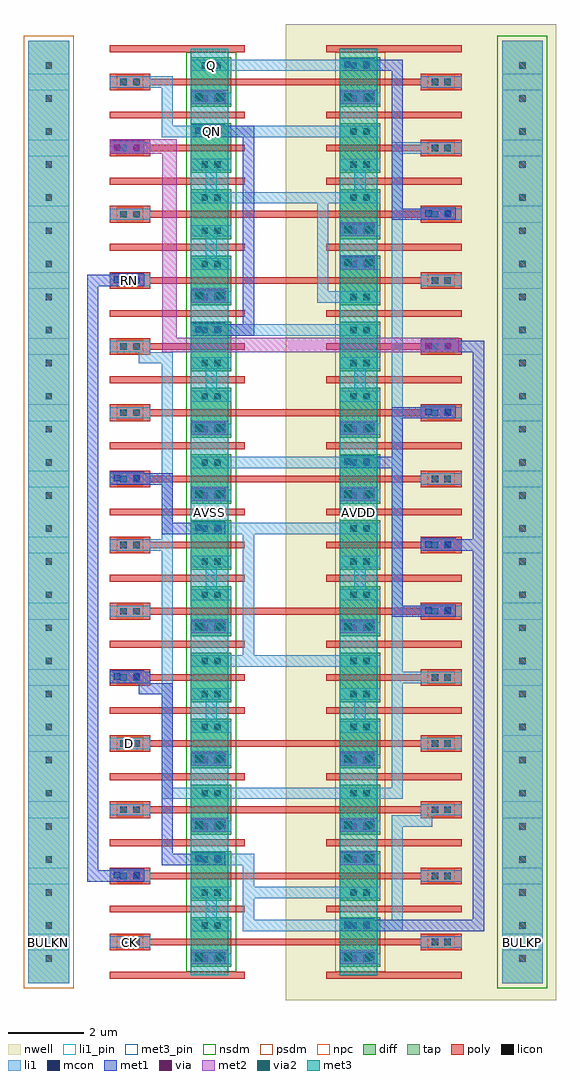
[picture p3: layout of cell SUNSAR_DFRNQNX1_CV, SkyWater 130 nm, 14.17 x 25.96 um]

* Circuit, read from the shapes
.subckt SUNSAR_DFRNQNX1_CV AVDD AVSS BULKN BULKP CK D Q QN RN
XM1 SUNSAR_NDX1_CV_22/SUNSAR_NCHDL_0/D CK AVSS BULKN sky130_fd_pr__nfet_01v8 w=1.08 l=0.18
XM2 SUNSAR_IVX1_CV_23/A RN SUNSAR_NDX1_CV_22/SUNSAR_NCHDL_0/D BULKN sky130_fd_pr__nfet_01v8 w=1.08 l=0.18
XM3 SUNSAR_IVTRIX1_CV_19/C SUNSAR_IVX1_CV_23/A AVSS BULKN sky130_fd_pr__nfet_01v8 w=1.08 l=0.18
XM4 SUNSAR_IVTRIX1_CV_18/SUNSAR_NCHDL_0/D D AVSS BULKN sky130_fd_pr__nfet_01v8 w=1.08 l=0.18
XM5 SUNSAR_IVX1_CV_24/A SUNSAR_IVX1_CV_23/A SUNSAR_IVTRIX1_CV_18/SUNSAR_NCHDL_0/D BULKN sky130_fd_pr__nfet_01v8 w=1.08 l=0.18
XM6 SUNSAR_IVTRIX1_CV_19/SUNSAR_NCHDL_0/D SUNSAR_IVTRIX1_CV_19/A AVSS BULKN sky130_fd_pr__nfet_01v8 w=1.08 l=0.18
XM7 SUNSAR_IVX1_CV_24/A SUNSAR_IVTRIX1_CV_19/C SUNSAR_IVTRIX1_CV_19/SUNSAR_NCHDL_0/D BULKN sky130_fd_pr__nfet_01v8 w=1.08 l=0.18
XM8 SUNSAR_IVTRIX1_CV_19/A SUNSAR_IVX1_CV_24/A AVSS BULKN sky130_fd_pr__nfet_01v8 w=1.08 l=0.18
XM9 SUNSAR_IVTRIX1_CV_20/SUNSAR_NCHDL_0/D SUNSAR_IVTRIX1_CV_19/A AVSS BULKN sky130_fd_pr__nfet_01v8 w=1.08 l=0.18
XM10 QN SUNSAR_IVTRIX1_CV_19/C SUNSAR_IVTRIX1_CV_20/SUNSAR_NCHDL_0/D BULKN sky130_fd_pr__nfet_01v8 w=1.08 l=0.18
XM11 SUNSAR_NDTRIX1_CV_21/SUNSAR_NCHDL_0/D RN AVSS BULKN sky130_fd_pr__nfet_01v8 w=1.08 l=0.18
XM12 SUNSAR_NDTRIX1_CV_21/SUNSAR_NCHDL_1/D Q SUNSAR_NDTRIX1_CV_21/SUNSAR_NCHDL_0/D BULKN sky130_fd_pr__nfet_01v8 w=1.08 l=0.18
XM13 QN SUNSAR_IVX1_CV_23/A SUNSAR_NDTRIX1_CV_21/SUNSAR_NCHDL_1/D BULKN sky130_fd_pr__nfet_01v8 w=1.08 l=0.18
XM14 Q QN AVSS BULKN sky130_fd_pr__nfet_01v8 w=1.08 l=0.18
XM15 SUNSAR_IVX1_CV_23/A CK AVDD BULKP sky130_fd_pr__pfet_01v8 w=1.08 l=0.18
XM16 AVDD RN SUNSAR_IVX1_CV_23/A BULKP sky130_fd_pr__pfet_01v8 w=1.08 l=0.18
XM17 SUNSAR_IVTRIX1_CV_19/C SUNSAR_IVX1_CV_23/A AVDD BULKP sky130_fd_pr__pfet_01v8 w=1.08 l=0.18
XM18 SUNSAR_IVTRIX1_CV_18/SUNSAR_PCHDL_2/D D AVDD BULKP sky130_fd_pr__pfet_01v8 w=1.08 l=0.18
XM19 SUNSAR_IVX1_CV_24/A SUNSAR_IVTRIX1_CV_19/C SUNSAR_IVTRIX1_CV_18/SUNSAR_PCHDL_2/D BULKP sky130_fd_pr__pfet_01v8 w=1.08 l=0.18
XM20 SUNSAR_IVTRIX1_CV_19/SUNSAR_PCHDL_2/D SUNSAR_IVTRIX1_CV_19/A AVDD BULKP sky130_fd_pr__pfet_01v8 w=1.08 l=0.18
XM21 SUNSAR_IVX1_CV_24/A SUNSAR_IVX1_CV_23/A SUNSAR_IVTRIX1_CV_19/SUNSAR_PCHDL_2/D BULKP sky130_fd_pr__pfet_01v8 w=1.08 l=0.18
XM22 SUNSAR_IVTRIX1_CV_19/A SUNSAR_IVX1_CV_24/A AVDD BULKP sky130_fd_pr__pfet_01v8 w=1.08 l=0.18
XM23 SUNSAR_IVTRIX1_CV_20/SUNSAR_PCHDL_2/D SUNSAR_IVTRIX1_CV_19/A AVDD BULKP sky130_fd_pr__pfet_01v8 w=1.08 l=0.18
XM24 QN SUNSAR_IVX1_CV_23/A SUNSAR_IVTRIX1_CV_20/SUNSAR_PCHDL_2/D BULKP sky130_fd_pr__pfet_01v8 w=1.08 l=0.18
XM25 AVDD RN SUNSAR_NDTRIX1_CV_21/SUNSAR_NCHDL_1/D BULKP sky130_fd_pr__pfet_01v8 w=1.08 l=0.18
XM26 SUNSAR_NDTRIX1_CV_21/SUNSAR_NCHDL_1/D Q AVDD BULKP sky130_fd_pr__pfet_01v8 w=1.08 l=0.18
XM27 QN SUNSAR_IVTRIX1_CV_19/C SUNSAR_NDTRIX1_CV_21/SUNSAR_NCHDL_1/D BULKP sky130_fd_pr__pfet_01v8 w=1.08 l=0.18
XM28 Q QN AVDD BULKP sky130_fd_pr__pfet_01v8 w=1.08 l=0.18
.ends

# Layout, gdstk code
import gdstk
lib = gdstk.Library(unit=1e-6, precision=1e-09)
def R(c, l, rs):  # rectangles x0, y0, x1, y1
    for r in rs: c.add(gdstk.rectangle(r[:2], r[2:], *l))
def A(c, l, x, y, w, h, nx, ny, dx, dy):  # array of equal rectangles
    R(c, l, [(x+i*dx, y+j*dy, x+i*dx+w, y+j*dy+h) for i in range(nx) for j in range(ny)])
nwell = (64, 20)
diff = (65, 20)
tap = (65, 44)
poly = (66, 20)
licon = (66, 44)
li1_pin = (67, 16)
li1 = (67, 20)
mcon = (67, 44)
met1 = (68, 20)
via = (68, 44)
met2 = (69, 20)
via2 = (69, 44)
met3_pin = (70, 16)
met3 = (70, 20)
nsdm = (93, 44)
psdm = (94, 20)
npc = (95, 20)

sunsar_cut_m1m2_2x1 = lib.new_cell('SUNSAR_cut_M1M2_2x1')
R(sunsar_cut_m1m2_2x1, li1, [(0,0,0.92,0.34)])
R(sunsar_cut_m1m2_2x1, mcon, [(0.115,0.085,0.285,0.255), (0.635,0.085,0.805,0.255)])
R(sunsar_cut_m1m2_2x1, met1, [(0,0,0.92,0.34)])

sunsar_cut_m1m3_2x1 = lib.new_cell('SUNSAR_cut_M1M3_2x1')
R(sunsar_cut_m1m3_2x1, li1, [(0,0,0.92,0.34)])
R(sunsar_cut_m1m3_2x1, mcon, [(0.115,0.085,0.285,0.255), (0.635,0.085,0.805,0.255)])
R(sunsar_cut_m1m3_2x1, met1, [(0,0,0.92,0.34)])
R(sunsar_cut_m1m3_2x1, via, [(0.125,0.095,0.275,0.245), (0.645,0.095,0.795,0.245)])
R(sunsar_cut_m1m3_2x1, met2, [(0,0,1,0.38)])

sunsar_nchdl = lib.new_cell('SUNSAR_NCHDL')
R(sunsar_nchdl, diff, [(3.78,0.22,4.86,1.54)])
R(sunsar_nchdl, tap, [(-0.54,-0.22,0.54,1.98)])
A(sunsar_nchdl, poly, 1.62, -0.09, 3.6, 0.18, 1, 3, 0, 0.88)
R(sunsar_nchdl, poly, [(1.62,0.66,2.7,0.79), (1.62,0.97,2.7,1.1)])
R(sunsar_nchdl, licon, [(-0.085,0.355,0.085,0.525), (4.065,0.355,4.235,0.525), (4.405,0.355,4.575,0.525), (1.905,0.795,2.075,0.965), (2.245,0.795,2.415,0.965), (-0.085,1.235,0.085,1.405), (4.065,1.235,4.235,1.405), (4.405,1.235,4.575,1.405)])
R(sunsar_nchdl, li1_pin, [(3.78,0.29,4.86,0.59), (-0.54,0.66,0.54,1.1), (1.62,0.73,2.7,1.03), (3.78,1.17,4.86,1.47)])
R(sunsar_nchdl, li1, [(-0.54,-0.22,0.54,1.98), (3.78,0.29,4.86,0.59), (1.62,0.73,2.7,1.03), (3.78,1.17,4.86,1.47)])
R(sunsar_nchdl, nsdm, [(3.655,0.095,4.985,1.665)])
R(sunsar_nchdl, psdm, [(-0.665,-0.345,0.665,2.105)])
R(sunsar_nchdl, npc, [(1.805,0.695,2.515,1.065)])
sunsar_nchdl.add(gdstk.Label('D', (4.32,1.32), layer=67, texttype=5))
sunsar_nchdl.add(gdstk.Label('G', (2.16,0.88), layer=67, texttype=5))
sunsar_nchdl.add(gdstk.Label('S', (4.32,0.44), layer=67, texttype=5))
sunsar_nchdl.add(gdstk.Label('B', (0,0.88), layer=67, texttype=5))

sunsar_pchdl = lib.new_cell('SUNSAR_PCHDL')
R(sunsar_pchdl, nwell, [(0,-0.66,7.2,2.42)])
R(sunsar_pchdl, diff, [(1.44,0.22,2.52,1.54)])
R(sunsar_pchdl, tap, [(5.76,-0.22,6.84,1.98)])
A(sunsar_pchdl, poly, 1.08, -0.09, 3.6, 0.18, 1, 3, 0, 0.88)
R(sunsar_pchdl, poly, [(3.6,0.66,4.68,0.79), (3.6,0.97,4.68,1.1)])
R(sunsar_pchdl, licon, [(1.725,0.355,1.895,0.525), (2.065,0.355,2.235,0.525), (6.215,0.355,6.385,0.525), (3.885,0.795,4.055,0.965), (4.225,0.795,4.395,0.965), (1.725,1.235,1.895,1.405), (2.065,1.235,2.235,1.405), (6.215,1.235,6.385,1.405)])
R(sunsar_pchdl, li1_pin, [(1.44,0.29,2.52,0.59), (5.76,0.66,6.84,1.1), (3.6,0.73,4.68,1.03), (1.44,1.17,2.52,1.47)])
R(sunsar_pchdl, li1, [(5.76,-0.22,6.84,1.98), (1.44,0.29,2.52,0.59), (3.6,0.73,4.68,1.03), (1.44,1.17,2.52,1.47)])
R(sunsar_pchdl, nsdm, [(5.635,-0.345,6.965,2.105)])
R(sunsar_pchdl, psdm, [(1.315,0.095,2.645,1.665)])
R(sunsar_pchdl, npc, [(3.785,0.695,4.495,1.065)])
sunsar_pchdl.add(gdstk.Label('D', (1.98,1.32), layer=67, texttype=5))
sunsar_pchdl.add(gdstk.Label('G', (4.14,0.88), layer=67, texttype=5))
sunsar_pchdl.add(gdstk.Label('S', (1.98,0.44), layer=67, texttype=5))
sunsar_pchdl.add(gdstk.Label('B', (6.3,0.88), layer=67, texttype=5))

sunsar_cut_m1m4_2x1 = lib.new_cell('SUNSAR_cut_M1M4_2x1')
R(sunsar_cut_m1m4_2x1, li1, [(0,0,0.92,0.34)])
R(sunsar_cut_m1m4_2x1, mcon, [(0.115,0.085,0.285,0.255), (0.635,0.085,0.805,0.255)])
R(sunsar_cut_m1m4_2x1, met1, [(0,0,0.92,0.34)])
R(sunsar_cut_m1m4_2x1, via, [(0.125,0.095,0.275,0.245), (0.645,0.095,0.795,0.245)])
R(sunsar_cut_m1m4_2x1, met2, [(0,0,1,0.38)])
R(sunsar_cut_m1m4_2x1, via2, [(0.12,0.09,0.32,0.29), (0.68,0.09,0.88,0.29)])
R(sunsar_cut_m1m4_2x1, met3, [(0,0,1,0.38)])

sunsar_ivtrix1_cv = lib.new_cell('SUNSAR_IVTRIX1_CV')
R(sunsar_ivtrix1_cv, poly, [(1.62,0.79,10.98,0.97)])
R(sunsar_ivtrix1_cv, li1_pin, [(-0.54,0.66,0.54,1.1), (12.06,0.66,13.14,1.1), (1.62,0.73,2.7,1.03), (1.62,2.49,2.7,2.79), (9.9,2.49,10.98,2.79), (3.78,2.93,4.86,3.23)])
R(sunsar_ivtrix1_cv, li1, [(-0.54,0.66,0.54,1.1), (12.06,0.66,13.14,1.1), (1.62,0.73,2.7,1.03), (4.17,1.17,4.47,2.35), (8.13,1.17,8.43,2.35), (1.62,2.49,2.7,2.79), (9.9,2.49,10.98,2.79), (3.78,2.93,8.28,3.23)])
R(sunsar_ivtrix1_cv, met3_pin, [(3.78,0,4.78,3.52), (7.74,0,8.74,3.52)])
R(sunsar_ivtrix1_cv, met3, [(3.78,0,4.78,3.52), (7.74,0,8.74,3.52)])
R(sunsar_ivtrix1_cv, nsdm, [(3.655,1.665,4.985,1.855)])
R(sunsar_ivtrix1_cv, psdm, [(7.615,1.665,8.945,1.855)])
sunsar_ivtrix1_cv.add(gdstk.Reference(sunsar_nchdl, (0,0)))
sunsar_ivtrix1_cv.add(gdstk.Reference(sunsar_nchdl, (0,1.76)))
sunsar_ivtrix1_cv.add(gdstk.Reference(sunsar_pchdl, (6.3,0)))
sunsar_ivtrix1_cv.add(gdstk.Reference(sunsar_pchdl, (6.3,1.76)))
sunsar_ivtrix1_cv.add(gdstk.Reference(sunsar_cut_m1m4_2x1, (7.74,0.29)))
sunsar_ivtrix1_cv.add(gdstk.Reference(sunsar_cut_m1m4_2x1, (3.78,0.29)))
sunsar_ivtrix1_cv.add(gdstk.Label('A', (2.16,0.88), layer=67, texttype=5))
sunsar_ivtrix1_cv.add(gdstk.Label('C', (2.16,2.64), layer=67, texttype=5))
sunsar_ivtrix1_cv.add(gdstk.Label('CN', (10.44,2.64), layer=67, texttype=5))
sunsar_ivtrix1_cv.add(gdstk.Label('Y', (4.32,3.08), layer=67, texttype=5))
sunsar_ivtrix1_cv.add(gdstk.Label('BULKP', (12.6,0.88), layer=67, texttype=5))
sunsar_ivtrix1_cv.add(gdstk.Label('BULKN', (0,0.88), layer=67, texttype=5))
sunsar_ivtrix1_cv.add(gdstk.Label('AVDD', (8.24,1.76), layer=70, texttype=5))
sunsar_ivtrix1_cv.add(gdstk.Label('AVSS', (4.28,1.76), layer=70, texttype=5))

sunsar_ndtrix1_cv = lib.new_cell('SUNSAR_NDTRIX1_CV')
R(sunsar_ndtrix1_cv, poly, [(1.62,0.79,10.98,0.97), (1.62,2.55,10.98,2.73)])
A(sunsar_ndtrix1_cv, li1_pin, 1.62, 0.73, 1.08, 0.3, 1, 3, 0, 1.76)
R(sunsar_ndtrix1_cv, li1_pin, [(-0.54,2.42,0.54,2.86), (12.06,2.42,13.14,2.86), (9.9,4.25,10.98,4.55), (3.78,4.69,4.86,4.99)])
A(sunsar_ndtrix1_cv, li1, 1.62, 0.73, 1.08, 0.3, 1, 3, 0, 1.76)
R(sunsar_ndtrix1_cv, li1, [(7.14,0.29,8.28,0.59), (7.14,0.59,7.44,2.93), (4.17,1.17,4.47,2.35), (-0.54,2.42,0.54,2.86), (12.06,2.42,13.14,2.86), (3.78,2.93,8.82,3.23), (4.17,3.23,4.47,4.11), (8.13,3.23,8.43,4.11), (9.9,4.25,10.98,4.55), (3.78,4.69,8.28,4.99)])
R(sunsar_ndtrix1_cv, met3_pin, [(3.78,0,4.78,5.28), (7.74,0,8.74,5.28)])
R(sunsar_ndtrix1_cv, met3, [(3.78,0,4.78,5.28), (7.74,0,8.74,5.28)])
R(sunsar_ndtrix1_cv, nsdm, [(3.655,1.665,4.985,1.855), (3.655,3.425,4.985,3.615)])
R(sunsar_ndtrix1_cv, psdm, [(7.615,1.665,8.945,1.855), (7.615,3.425,8.945,3.615)])
sunsar_ndtrix1_cv.add(gdstk.Reference(sunsar_nchdl, (0,0)))
sunsar_ndtrix1_cv.add(gdstk.Reference(sunsar_nchdl, (0,1.76)))
sunsar_ndtrix1_cv.add(gdstk.Reference(sunsar_nchdl, (0,3.52)))
sunsar_ndtrix1_cv.add(gdstk.Reference(sunsar_pchdl, (6.3,0)))
sunsar_ndtrix1_cv.add(gdstk.Reference(sunsar_pchdl, (6.3,1.76)))
sunsar_ndtrix1_cv.add(gdstk.Reference(sunsar_pchdl, (6.3,3.52)))
sunsar_ndtrix1_cv.add(gdstk.Reference(sunsar_cut_m1m4_2x1, (7.74,1.17)))
sunsar_ndtrix1_cv.add(gdstk.Reference(sunsar_cut_m1m4_2x1, (7.74,2.05)))
sunsar_ndtrix1_cv.add(gdstk.Reference(sunsar_cut_m1m4_2x1, (3.78,0.29)))
sunsar_ndtrix1_cv.add(gdstk.Label('A', (2.16,2.64), layer=67, texttype=5))
sunsar_ndtrix1_cv.add(gdstk.Label('C', (2.16,4.4), layer=67, texttype=5))
sunsar_ndtrix1_cv.add(gdstk.Label('CN', (10.44,4.4), layer=67, texttype=5))
sunsar_ndtrix1_cv.add(gdstk.Label('RN', (2.16,0.88), layer=67, texttype=5))
sunsar_ndtrix1_cv.add(gdstk.Label('Y', (4.32,4.84), layer=67, texttype=5))
sunsar_ndtrix1_cv.add(gdstk.Label('BULKP', (12.6,2.64), layer=67, texttype=5))
sunsar_ndtrix1_cv.add(gdstk.Label('BULKN', (0,2.64), layer=67, texttype=5))
sunsar_ndtrix1_cv.add(gdstk.Label('AVDD', (8.24,2.64), layer=70, texttype=5))
sunsar_ndtrix1_cv.add(gdstk.Label('AVSS', (4.28,2.64), layer=70, texttype=5))

sunsar_ndx1_cv = lib.new_cell('SUNSAR_NDX1_CV')
R(sunsar_ndx1_cv, poly, [(1.62,0.79,10.98,0.97), (1.62,2.55,10.98,2.73)])
R(sunsar_ndx1_cv, li1_pin, [(-0.54,0.66,0.54,1.1), (12.06,0.66,13.14,1.1), (1.62,0.73,2.7,1.03), (1.62,2.49,2.7,2.79), (3.78,2.93,4.86,3.23)])
R(sunsar_ndx1_cv, li1, [(-0.54,0.66,0.54,1.1), (12.06,0.66,13.14,1.1), (1.62,0.73,2.7,1.03), (4.17,1.17,4.47,2.35), (5.16,1.17,8.28,1.47), (5.16,1.47,5.46,2.05), (5.16,2.05,8.28,2.35), (5.16,2.35,5.46,2.93), (1.62,2.49,2.7,2.79), (3.78,2.93,5.46,3.23)])
R(sunsar_ndx1_cv, met3_pin, [(3.78,0,4.78,3.52), (7.74,0,8.74,3.52)])
R(sunsar_ndx1_cv, met3, [(3.78,0,4.78,3.52), (7.74,0,8.74,3.52)])
R(sunsar_ndx1_cv, nsdm, [(3.655,1.665,4.985,1.855)])
R(sunsar_ndx1_cv, psdm, [(7.615,1.665,8.945,1.855)])
sunsar_ndx1_cv.add(gdstk.Reference(sunsar_nchdl, (0,0)))
sunsar_ndx1_cv.add(gdstk.Reference(sunsar_nchdl, (0,1.76)))
sunsar_ndx1_cv.add(gdstk.Reference(sunsar_pchdl, (6.3,0)))
sunsar_ndx1_cv.add(gdstk.Reference(sunsar_pchdl, (6.3,1.76)))
sunsar_ndx1_cv.add(gdstk.Reference(sunsar_cut_m1m4_2x1, (7.74,0.29)))
sunsar_ndx1_cv.add(gdstk.Reference(sunsar_cut_m1m4_2x1, (7.74,2.93)))
sunsar_ndx1_cv.add(gdstk.Reference(sunsar_cut_m1m4_2x1, (3.78,0.29)))
sunsar_ndx1_cv.add(gdstk.Label('A', (2.16,0.88), layer=67, texttype=5))
sunsar_ndx1_cv.add(gdstk.Label('B', (2.16,2.64), layer=67, texttype=5))
sunsar_ndx1_cv.add(gdstk.Label('Y', (4.32,3.08), layer=67, texttype=5))
sunsar_ndx1_cv.add(gdstk.Label('BULKP', (12.6,0.88), layer=67, texttype=5))
sunsar_ndx1_cv.add(gdstk.Label('BULKN', (0,0.88), layer=67, texttype=5))
sunsar_ndx1_cv.add(gdstk.Label('AVDD', (8.24,1.76), layer=70, texttype=5))
sunsar_ndx1_cv.add(gdstk.Label('AVSS', (4.28,1.76), layer=70, texttype=5))

sunsar_ivx1_cv = lib.new_cell('SUNSAR_IVX1_CV')
R(sunsar_ivx1_cv, poly, [(1.62,0.79,10.98,0.97)])
R(sunsar_ivx1_cv, li1_pin, [(-0.54,0.66,0.54,1.1), (12.06,0.66,13.14,1.1), (1.62,0.73,2.7,1.03), (3.78,1.17,4.86,1.47)])
R(sunsar_ivx1_cv, li1, [(-0.54,0.66,0.54,1.1), (12.06,0.66,13.14,1.1), (1.62,0.73,2.7,1.03), (3.78,1.17,8.28,1.47)])
R(sunsar_ivx1_cv, met3_pin, [(3.78,0,4.78,1.76), (7.74,0,8.74,1.76)])
R(sunsar_ivx1_cv, met3, [(3.78,0,4.78,1.76), (7.74,0,8.74,1.76)])
sunsar_ivx1_cv.add(gdstk.Reference(sunsar_nchdl, (0,0)))
sunsar_ivx1_cv.add(gdstk.Reference(sunsar_pchdl, (6.3,0)))
sunsar_ivx1_cv.add(gdstk.Reference(sunsar_cut_m1m4_2x1, (7.74,0.29)))
sunsar_ivx1_cv.add(gdstk.Reference(sunsar_cut_m1m4_2x1, (3.78,0.29)))
sunsar_ivx1_cv.add(gdstk.Label('A', (2.16,0.88), layer=67, texttype=5))
sunsar_ivx1_cv.add(gdstk.Label('Y', (4.32,1.32), layer=67, texttype=5))
sunsar_ivx1_cv.add(gdstk.Label('BULKP', (12.6,0.88), layer=67, texttype=5))
sunsar_ivx1_cv.add(gdstk.Label('BULKN', (0,0.88), layer=67, texttype=5))
sunsar_ivx1_cv.add(gdstk.Label('AVDD', (8.24,0.88), layer=70, texttype=5))
sunsar_ivx1_cv.add(gdstk.Label('AVSS', (4.28,0.88), layer=70, texttype=5))

sunsar_dfrnqnx1_cv = lib.new_cell('SUNSAR_DFRNQNX1_CV')
R(sunsar_dfrnqnx1_cv, li1_pin, [(-0.54,0.66,0.54,1.1), (12.06,0.66,13.14,1.1), (1.62,0.73,2.7,1.03), (1.62,6.01,2.7,6.31), (1.62,18.33,2.7,18.63), (3.78,22.29,4.86,22.59), (3.78,24.05,4.86,24.35)])
R(sunsar_dfrnqnx1_cv, li1, [(-0.54,0.66,0.54,1.1), (12.06,0.66,13.14,1.1), (1.62,0.73,2.7,1.03), (8.28,1.17,9.42,1.47), (9.12,1.47,9.42,3.95), (9.12,3.95,10.2,4.25), (9.9,4.25,10.44,4.55), (3,4.69,4.32,4.99), (8.28,4.69,9.42,4.99), (3,4.99,3.3,11.29), (9.12,4.99,9.42,7.77), (1.62,6.01,2.7,6.31), (9.12,7.77,10.44,8.07), (9.12,8.07,9.42,21.85), (4.32,8.21,5.46,8.51), (5.16,8.51,5.46,11.73), (2.16,11.29,3.3,11.59), (3,11.59,3.3,16.27), (4.32,11.73,5.46,12.03), (2.4,16.27,3.3,16.57), (2.16,16.57,2.7,16.87), (1.62,18.33,2.7,18.63), (9.12,21.85,10.44,22.15), (3,22.29,4.86,22.59), (3,22.59,3.3,23.61), (2.16,23.61,3.3,23.91), (3.78,24.05,4.86,24.35)])
A(sunsar_dfrnqnx1_cv, met1, 9.12, 9.53, 1.32, 0.3, 1, 3, 0, 5.28)
R(sunsar_dfrnqnx1_cv, met1, [(8.28,1.17,11.58,1.47), (11.28,1.47,11.58,11.29), (1.02,2.49,2.16,2.79), (1.02,2.79,1.32,18.33), (3,2.93,4.32,3.23), (3,3.23,3.3,7.47), (2.4,7.47,3.3,7.77), (2.16,7.77,2.7,8.07), (9.12,9.83,9.42,13.49), (10.44,11.29,11.58,11.59), (11.28,11.59,11.58,16.57), (3,11.73,4.32,12.03), (3,12.03,3.3,13.05), (2.16,13.05,3.3,13.35), (8.28,13.49,9.42,13.79), (9.12,13.79,9.42,14.81), (10.44,16.57,11.58,16.87), (4.32,17.01,5.46,17.31), (5.16,17.31,5.46,22.29), (1.02,18.33,2.16,18.63), (9.12,20.39,9.42,24.05), (4.32,22.29,5.46,22.59), (8.28,24.05,9.42,24.35)])
R(sunsar_dfrnqnx1_cv, met2, [(3.02,16.57,10.44,16.95), (3.02,16.95,3.4,21.85), (2.16,21.85,3.4,22.23)])
R(sunsar_dfrnqnx1_cv, met3_pin, [(3.78,0,4.78,24.64), (7.74,0,8.74,24.64)])
R(sunsar_dfrnqnx1_cv, met3, [(3.78,0,4.78,24.64), (7.74,0,8.74,24.64)])
A(sunsar_dfrnqnx1_cv, nsdm, 3.655, 5.185, 1.33, 0.19, 1, 3, 0, 3.52)
R(sunsar_dfrnqnx1_cv, nsdm, [(3.655,3.425,4.985,3.615), (3.655,13.985,4.985,14.175), (3.655,17.505,4.985,17.695), (3.655,22.785,4.985,22.975)])
A(sunsar_dfrnqnx1_cv, psdm, 7.615, 5.185, 1.33, 0.19, 1, 3, 0, 3.52)
R(sunsar_dfrnqnx1_cv, psdm, [(7.615,3.425,8.945,3.615), (7.615,13.985,8.945,14.175), (7.615,17.505,8.945,17.695), (7.615,22.785,8.945,22.975)])
sunsar_dfrnqnx1_cv.add(gdstk.Reference(sunsar_cut_m1m2_2x1, (7.74,1.17)))
sunsar_dfrnqnx1_cv.add(gdstk.Reference(sunsar_cut_m1m2_2x1, (3.78,2.93)))
sunsar_dfrnqnx1_cv.add(gdstk.Reference(sunsar_cut_m1m2_2x1, (1.62,2.49)))
sunsar_dfrnqnx1_cv.add(gdstk.Reference(sunsar_cut_m1m2_2x1, (1.62,7.77)))
sunsar_dfrnqnx1_cv.add(gdstk.Reference(sunsar_cut_m1m2_2x1, (9.9,9.53)))
sunsar_dfrnqnx1_cv.add(gdstk.Reference(sunsar_cut_m1m2_2x1, (9.9,11.29)))
sunsar_dfrnqnx1_cv.add(gdstk.Reference(sunsar_cut_m1m2_2x1, (1.62,13.05)))
sunsar_dfrnqnx1_cv.add(gdstk.Reference(sunsar_cut_m1m2_2x1, (3.78,11.73)))
sunsar_dfrnqnx1_cv.add(gdstk.Reference(sunsar_cut_m1m2_2x1, (7.74,13.49)))
sunsar_dfrnqnx1_cv.add(gdstk.Reference(sunsar_cut_m1m2_2x1, (9.9,14.81)))
sunsar_dfrnqnx1_cv.add(gdstk.Reference(sunsar_cut_m1m2_2x1, (9.9,16.57)))
sunsar_dfrnqnx1_cv.add(gdstk.Reference(sunsar_cut_m1m2_2x1, (3.78,17.01)))
sunsar_dfrnqnx1_cv.add(gdstk.Reference(sunsar_cut_m1m2_2x1, (9.9,20.09)))
sunsar_dfrnqnx1_cv.add(gdstk.Reference(sunsar_cut_m1m2_2x1, (1.62,18.33)))
sunsar_dfrnqnx1_cv.add(gdstk.Reference(sunsar_cut_m1m3_2x1, (9.9,16.57)))
sunsar_dfrnqnx1_cv.add(gdstk.Reference(sunsar_cut_m1m2_2x1, (3.78,22.29)))
sunsar_dfrnqnx1_cv.add(gdstk.Reference(sunsar_cut_m1m2_2x1, (7.74,24.05)))
sunsar_dfrnqnx1_cv.add(gdstk.Reference(sunsar_cut_m1m3_2x1, (1.62,21.85)))
sunsar_dfrnqnx1_cv.add(gdstk.Reference(sunsar_ivtrix1_cv, (0,5.28)))
sunsar_dfrnqnx1_cv.add(gdstk.Reference(sunsar_ivtrix1_cv, (0,8.8)))
sunsar_dfrnqnx1_cv.add(gdstk.Reference(sunsar_ivtrix1_cv, (0,14.08)))
sunsar_dfrnqnx1_cv.add(gdstk.Reference(sunsar_ndtrix1_cv, (0,17.6)))
sunsar_dfrnqnx1_cv.add(gdstk.Reference(sunsar_ndx1_cv, (0,0)))
sunsar_dfrnqnx1_cv.add(gdstk.Reference(sunsar_ivx1_cv, (0,3.52)))
sunsar_dfrnqnx1_cv.add(gdstk.Reference(sunsar_ivx1_cv, (0,12.32)))
sunsar_dfrnqnx1_cv.add(gdstk.Reference(sunsar_ivx1_cv, (0,22.88)))
sunsar_dfrnqnx1_cv.add(gdstk.Label('D', (2.16,6.16), layer=67, texttype=5))
sunsar_dfrnqnx1_cv.add(gdstk.Label('CK', (2.16,0.88), layer=67, texttype=5))
sunsar_dfrnqnx1_cv.add(gdstk.Label('RN', (2.16,18.48), layer=67, texttype=5))
sunsar_dfrnqnx1_cv.add(gdstk.Label('Q', (4.32,24.2), layer=67, texttype=5))
sunsar_dfrnqnx1_cv.add(gdstk.Label('QN', (4.32,22.44), layer=67, texttype=5))
sunsar_dfrnqnx1_cv.add(gdstk.Label('BULKP', (12.6,0.88), layer=67, texttype=5))
sunsar_dfrnqnx1_cv.add(gdstk.Label('BULKN', (0,0.88), layer=67, texttype=5))
sunsar_dfrnqnx1_cv.add(gdstk.Label('AVDD', (8.24,12.32), layer=70, texttype=5))
sunsar_dfrnqnx1_cv.add(gdstk.Label('AVSS', (4.28,12.32), layer=70, texttype=5))

lib.write_gds('SUNSAR_DFRNQNX1_CV.gds')
